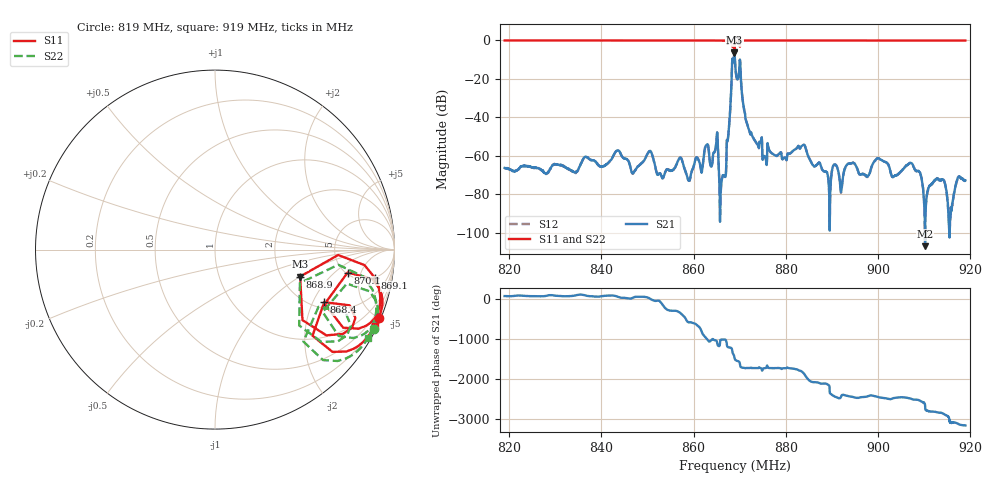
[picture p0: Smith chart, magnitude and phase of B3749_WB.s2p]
! Matrix data file written by TouchstoneData, EPCOS AG
! FILENAME: "B3749_WB.s2p"
! COMMENT: "(B3749_WB.s2p) EPCOS AG 12.10.2011 09:56:57"
! INFO: nport=2, nfreq=1601
! DATE: "Thu Nov 17 12:38:40 2011"
! USER: "Wilfried Schott"
! port | pin | signal
!  1  |  2  |  IN
!  2  |  4  |  OUT
# MHZ S MA R 50
! freq  magS11 angS11  magS21 angS21  magS12 angS12  magS22 angS22
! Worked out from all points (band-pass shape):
!   1601 points, 819 MHz to 919 MHz, reference 50 ohm
!   highest |S21| = -6.52 dB at 868.9 MHz (marker M1); lowest = -106.9 dB at 910.2 MHz (marker M2)
!   |S21| within 3 dB of the highest: 868.7352 MHz to 868.9669 MHz (231.7 kHz wide, 0.0267 % of centre)
!   lowest |S11| = -6.1 dB at 868.9 MHz (marker M3), VSWR 2.98, Z = 126 - j50.2 ohm
!   |S11| at or under -10 dB: nowhere
!   |S22| runs from -5.9 to -0.1 dB; largest |S21 - S12| = 0.00044
!   S11 on the Smith chart (normalised r, x): 819 MHz: 0.12, -4.98; 868.4 MHz: 2.28, -2.45; 868.9 MHz: 2.52, -1.00; 869.1 MHz: 4.96, -8.58; 870.1 MHz: 5.18, -3.02; 919 MHz: 0.14, -4.38
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819  0.9908 -22.7  0.0004855 71.1  0.0004781 70.2  0.9909 -26.5
835.6875  0.9905 -23.3  0.0006725 107.6  0.0006725 107.8  0.99 -27.2
850.5  0.9899 -23.8  0.001327 12.1  0.001326 11.7  0.9893 -27.8
852.375  0.9887 -23.9  0.0003361 -42.9  0.0003424 -42.9  0.9887 -28.0
857.0625  0.9888 -24.3  0.0008999 14.3  0.0008973 13.6  0.9882 -28.4
859  0.9886 -24.4  0.0002304 132.8  0.0002311 131.3  0.9879 -28.5
864.8125  0.9869 -25.5  0.001636 41.5  0.001638 41.5  0.9864 -29.6
866.125  0.9859 -26.2  0.0002343 61.0  0.0002406 61.1  0.9851 -30.3
867.1875  0.9828 -27.7  0.001666 -23.2  0.00166 -23.3  0.9817 -31.8
868.4375  0.6755 -25.7  0.3329 115.9  0.333 115.8  0.659 -29.0
868.875  0.4974 -17.6  0.4722 -24.8  0.4724 -24.9  0.5081 -21.5
869  0.8376 -5.9  0.2833 -76.8  0.2833 -76.7  0.8398 -10.3
869.0625  0.9046 -10.0  0.2143 -88.2  0.2144 -88.2  0.9055 -14.3
870.125  0.75 -9.8  0.273 131.0  0.2729 130.9  0.7587 -14.4
871.8125  0.9886 -22.0  0.005703 67.5  0.0057 67.4  0.9877 -26.1
875.4375  0.9887 -23.5  0.0009739 63.2  0.0009711 63.0  0.9877 -27.7
885.6875  0.9857 -24.2  0.0006319 78.7  0.0006279 78.6  0.9853 -28.4
889.4375  0.9865 -24.5  0.0001112 -10.7  0.0001044 -17.0  0.9867 -28.6
902.375  0.9855 -25.1  0.000558 9.9  0.0005552 9.1  0.9854 -29.3
907.25  0.9856 -25.3  0.0006539 14.4  0.0006421 14.6  0.9851 -29.5
910.25  0.986 -25.4  4.528e-06 -143.8  6.474e-06 85.4  0.9853 -29.6
919  0.9862 -25.7  0.0002308 66.8  0.0002249 69.2  0.9855 -29.9
